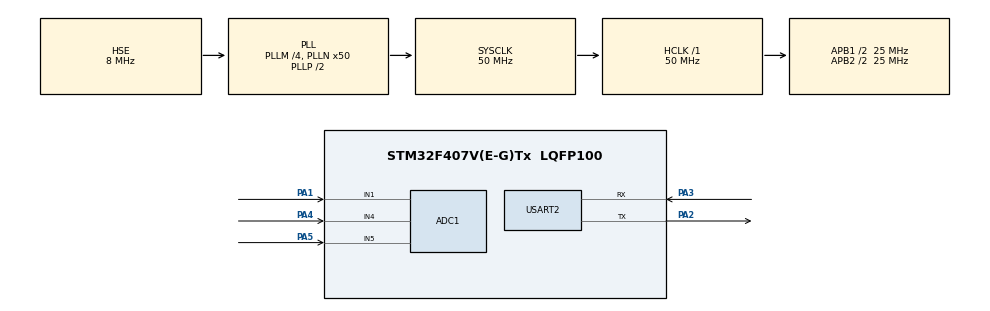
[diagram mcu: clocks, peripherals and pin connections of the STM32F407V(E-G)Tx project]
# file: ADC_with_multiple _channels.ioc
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ADC1.Channel-0\#ChannelRegularConversion=ADC_CHANNEL_1
ADC1.Channel-1\#ChannelRegularConversion=ADC_CHANNEL_4
ADC1.Channel-2\#ChannelRegularConversion=ADC_CHANNEL_5
ADC1.ContinuousConvMode=DISABLE
ADC1.EOCSelection=ADC_EOC_SINGLE_CONV
ADC1.NbrOfConversion=3
ADC1.NbrOfConversionFlag=1
ADC1.Rank-0\#ChannelRegularConversion=1
ADC1.Rank-1\#ChannelRegularConversion=2
ADC1.Rank-2\#ChannelRegularConversion=3
ADC1.SamplingTime-0\#ChannelRegularConversion=ADC_SAMPLETIME_144CYCLES
ADC1.SamplingTime-1\#ChannelRegularConversion=ADC_SAMPLETIME_144CYCLES
ADC1.SamplingTime-2\#ChannelRegularConversion=ADC_SAMPLETIME_144CYCLES
ADC1.ScanConvMode=ENABLE
ADC1.master=1
Mcu.Family=STM32F4
Mcu.Name=STM32F407V(E-G)Tx
Mcu.Package=LQFP100
NVIC.PriorityGroup=NVIC_PRIORITYGROUP_0
PA1.Signal=ADCx_IN1
PA13.Mode=Serial_Wire
PA13.Signal=SYS_JTMS-SWDIO
PA14.Mode=Serial_Wire
PA14.Signal=SYS_JTCK-SWCLK
PA2.Mode=Asynchronous
PA2.Signal=USART2_TX
PA3.Mode=Asynchronous
PA3.Signal=USART2_RX
PA4.Signal=ADCx_IN4
PA5.Signal=ADCx_IN5
PH0-OSC_IN.Mode=HSE-External-Oscillator
PH0-OSC_IN.Signal=RCC_OSC_IN
PH1-OSC_OUT.Mode=HSE-External-Oscillator
PH1-OSC_OUT.Signal=RCC_OSC_OUT
ProjectManager.HeapSize=0x200
ProjectManager.StackSize=0x400
ProjectManager.TargetToolchain=STM32CubeIDE
RCC.48MHZClocksFreq_Value=14285714.285714285
RCC.AHBFreq_Value=50000000
RCC.APB1CLKDivider=RCC_HCLK_DIV2
RCC.APB1Freq_Value=25000000
RCC.APB1TimFreq_Value=50000000
RCC.APB2CLKDivider=RCC_HCLK_DIV2
RCC.APB2Freq_Value=25000000
RCC.APB2TimFreq_Value=50000000
RCC.CortexFreq_Value=50000000
RCC.HCLKFreq_Value=50000000
RCC.HSE_VALUE=8000000
RCC.HSI_VALUE=16000000
RCC.LSE_VALUE=32768
RCC.PLLM=4
RCC.PLLN=50
RCC.PLLQ=7
RCC.PLLSourceVirtual=RCC_PLLSOURCE_HSE
RCC.SYSCLKFreq_VALUE=50000000
RCC.SYSCLKSource=RCC_SYSCLKSOURCE_PLLCLK
RCC.VCOOutputFreq_Value=100000000
SH.ADCx_IN1.0=ADC1_IN1,IN1
SH.ADCx_IN4.0=ADC1_IN4,IN4
SH.ADCx_IN5.0=ADC1_IN5,IN5
USART2.VirtualMode=VM_ASYNC
board=STM32F407G-DISC1

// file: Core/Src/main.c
/* USER CODE BEGIN Header */
/**
  ******************************************************************************
  * @file           : main.c
  * @brief          : Main program body
  ******************************************************************************
  * @attention
  *
  * Copyright (c) 2026 STMicroelectronics.
  * All rights reserved.
  *
  * This software is licensed under terms that can be found in the LICENSE file
  * in the root directory of this software component.
  * If no LICENSE file comes with this software, it is provided AS-IS.
  *
  ******************************************************************************
  */
/* USER CODE END Header */
#include "main.h"

/* USER CODE BEGIN Includes */
#include "stdio.h"
#include "string.h"
/* USER CODE END Includes */

ADC_HandleTypeDef hadc1;

UART_HandleTypeDef huart2;

/* USER CODE BEGIN PV */

char uart_init_msg[] = "UART Initialized\r\n";
char adc_init_msg[] = "ADC Initialized\r\n";
char newline[] = "\r\n";
char adc0buffer[30];
char adc1buffer[30];
char adc2buffer[30];
uint32_t adc_raw_value;
uint32_t adc_val[5];
uint8_t i;

/* USER CODE END PV */

void SystemClock_Config(void);
static void MX_GPIO_Init(void);
static void MX_ADC1_Init(void);
static void MX_USART2_UART_Init(void);

int main(void)
{

  /* MCU Configuration--------------------------------------------------------*/

  /* Reset of all peripherals, Initializes the Flash interface and the Systick. */
  HAL_Init();

  /* Configure the system clock */
  SystemClock_Config();

  /* Initialize all configured peripherals */
  MX_GPIO_Init();
  MX_ADC1_Init();
  MX_USART2_UART_Init();
  /* USER CODE BEGIN 2 */

  HAL_UART_Transmit(&huart2, (uint8_t *)uart_init_msg, strlen(uart_init_msg) , HAL_MAX_DELAY);
  HAL_UART_Transmit(&huart2, (uint8_t *)adc_init_msg, strlen(adc_init_msg) , HAL_MAX_DELAY);

  /* USER CODE END 2 */

  /* Infinite loop */
  /* USER CODE BEGIN WHILE */
  while (1)
  {
	  HAL_ADC_Start(&hadc1);

	  for(int i = 0; i < 3; i++)
	  {
		  if(HAL_ADC_PollForConversion(&hadc1, HAL_MAX_DELAY) == HAL_OK)
		  adc_val[i] = HAL_ADC_GetValue(&hadc1);
	  }

	  HAL_ADC_Stop(&hadc1);

	  sprintf(adc0buffer,"ADC0 Channel 1 Raw_Value = %lu",adc_val[0]);
	  HAL_UART_Transmit(&huart2, (uint8_t *)adc0buffer, strlen(adc0buffer) , HAL_MAX_DELAY);
	  HAL_UART_Transmit(&huart2, (uint8_t *)newline, strlen(newline) , HAL_MAX_DELAY);

	  sprintf(adc1buffer,"ADC 1 Channel 4 Raw_Value = %lu",adc_val[1]);
	  HAL_UART_Transmit(&huart2, (uint8_t *)adc1buffer, strlen(adc1buffer) , HAL_MAX_DELAY);
	  HAL_UART_Transmit(&huart2, (uint8_t *)newline, strlen(newline) , HAL_MAX_DELAY);

	  sprintf(adc2buffer,"ADC 2 Channel 5 Raw_Value = %lu",adc_val[2]);
	  HAL_UART_Transmit(&huart2, (uint8_t *)adc2buffer, strlen(adc2buffer) , HAL_MAX_DELAY);
	  HAL_UART_Transmit(&huart2, (uint8_t *)newline, strlen(newline) , HAL_MAX_DELAY);

	  HAL_UART_Transmit(&huart2, (uint8_t *)newline, strlen(newline) , HAL_MAX_DELAY);

	  HAL_Delay(500);

    /* USER CODE END WHILE */

  }
}

void SystemClock_Config(void)
{
  RCC_OscInitTypeDef RCC_OscInitStruct = {0};
  RCC_ClkInitTypeDef RCC_ClkInitStruct = {0};

  /** Configure the main internal regulator output voltage
  */
  __HAL_RCC_PWR_CLK_ENABLE();
  __HAL_PWR_VOLTAGESCALING_CONFIG(PWR_REGULATOR_VOLTAGE_SCALE1);

  /** Initializes the RCC Oscillators according to the specified parameters
  * in the RCC_OscInitTypeDef structure.
  */
  RCC_OscInitStruct.OscillatorType = RCC_OSCILLATORTYPE_HSE;
  RCC_OscInitStruct.HSEState = RCC_HSE_ON;
  RCC_OscInitStruct.PLL.PLLState = RCC_PLL_ON;
  RCC_OscInitStruct.PLL.PLLSource = RCC_PLLSOURCE_HSE;
  RCC_OscInitStruct.PLL.PLLM = 4;
  RCC_OscInitStruct.PLL.PLLN = 50;
  RCC_OscInitStruct.PLL.PLLP = RCC_PLLP_DIV2;
  RCC_OscInitStruct.PLL.PLLQ = 7;
  if (HAL_RCC_OscConfig(&RCC_OscInitStruct) != HAL_OK)
  {
    Error_Handler();
  }

  /** Initializes the CPU, AHB and APB buses clocks
  */
  RCC_ClkInitStruct.ClockType = RCC_CLOCKTYPE_HCLK|RCC_CLOCKTYPE_SYSCLK
                              |RCC_CLOCKTYPE_PCLK1|RCC_CLOCKTYPE_PCLK2;
  RCC_ClkInitStruct.SYSCLKSource = RCC_SYSCLKSOURCE_PLLCLK;
  RCC_ClkInitStruct.AHBCLKDivider = RCC_SYSCLK_DIV1;
  RCC_ClkInitStruct.APB1CLKDivider = RCC_HCLK_DIV2;
  RCC_ClkInitStruct.APB2CLKDivider = RCC_HCLK_DIV2;

  if (HAL_RCC_ClockConfig(&RCC_ClkInitStruct, FLASH_LATENCY_1) != HAL_OK)
  {
    Error_Handler();
  }
}

static void MX_ADC1_Init(void)
{

  ADC_ChannelConfTypeDef sConfig = {0};

  /** Configure the global features of the ADC (Clock, Resolution, Data Alignment and number of conversion)
  */
  hadc1.Instance = ADC1;
  hadc1.Init.ClockPrescaler = ADC_CLOCK_SYNC_PCLK_DIV2;
  hadc1.Init.Resolution = ADC_RESOLUTION_12B;
  hadc1.Init.ScanConvMode = ENABLE;
  hadc1.Init.ContinuousConvMode = DISABLE;
  hadc1.Init.DiscontinuousConvMode = DISABLE;
  hadc1.Init.ExternalTrigConvEdge = ADC_EXTERNALTRIGCONVEDGE_NONE;
  hadc1.Init.ExternalTrigConv = ADC_SOFTWARE_START;
  hadc1.Init.DataAlign = ADC_DATAALIGN_RIGHT;
  hadc1.Init.NbrOfConversion = 3;
  hadc1.Init.DMAContinuousRequests = DISABLE;
  hadc1.Init.EOCSelection = ADC_EOC_SINGLE_CONV;
  if (HAL_ADC_Init(&hadc1) != HAL_OK)
  {
    Error_Handler();
  }

  /** Configure for the selected ADC regular channel its corresponding rank in the sequencer and its sample time.
  */
  sConfig.Channel = ADC_CHANNEL_1;
  sConfig.Rank = 1;
  sConfig.SamplingTime = ADC_SAMPLETIME_144CYCLES;
  if (HAL_ADC_ConfigChannel(&hadc1, &sConfig) != HAL_OK)
  {
    Error_Handler();
  }

  /** Configure for the selected ADC regular channel its corresponding rank in the sequencer and its sample time.
  */
  sConfig.Channel = ADC_CHANNEL_4;
  sConfig.Rank = 2;
  if (HAL_ADC_ConfigChannel(&hadc1, &sConfig) != HAL_OK)
  {
    Error_Handler();
  }

  /** Configure for the selected ADC regular channel its corresponding rank in the sequencer and its sample time.
  */
  sConfig.Channel = ADC_CHANNEL_5;
  sConfig.Rank = 3;
  if (HAL_ADC_ConfigChannel(&hadc1, &sConfig) != HAL_OK)
  {
    Error_Handler();
  }

}

static void MX_USART2_UART_Init(void)
{

  huart2.Instance = USART2;
  huart2.Init.BaudRate = 115200;
  huart2.Init.WordLength = UART_WORDLENGTH_8B;
  huart2.Init.StopBits = UART_STOPBITS_1;
  huart2.Init.Parity = UART_PARITY_NONE;
  huart2.Init.Mode = UART_MODE_TX_RX;
  huart2.Init.HwFlowCtl = UART_HWCONTROL_NONE;
  huart2.Init.OverSampling = UART_OVERSAMPLING_16;
  if (HAL_UART_Init(&huart2) != HAL_OK)
  {
    Error_Handler();
  }

}

static void MX_GPIO_Init(void)
{

  /* GPIO Ports Clock Enable */
  __HAL_RCC_GPIOH_CLK_ENABLE();
  __HAL_RCC_GPIOA_CLK_ENABLE();

}

void Error_Handler(void)
{
  __disable_irq();
  while (1)
  {
  }
}
